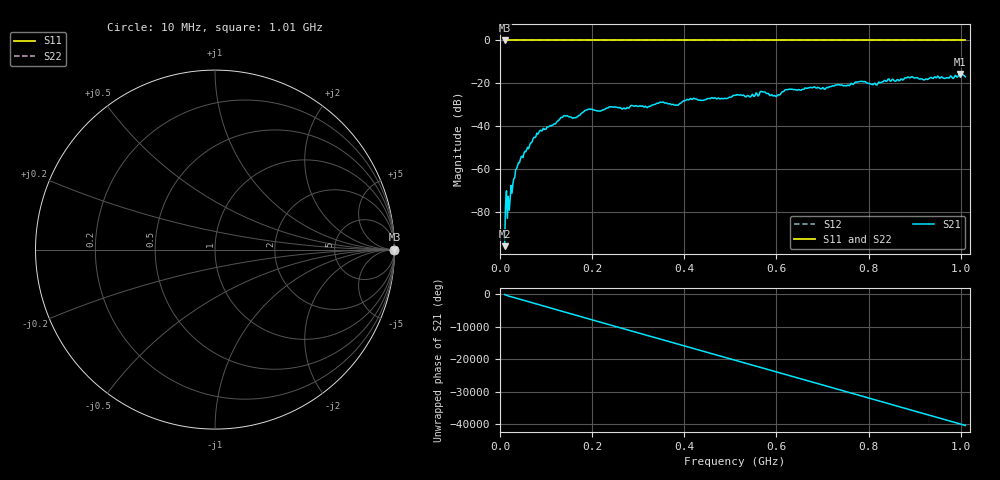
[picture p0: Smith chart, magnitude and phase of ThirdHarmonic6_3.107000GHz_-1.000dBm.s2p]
! 8/17/2025 9:11:04 AM
! C:\ANRITSUVNA\TEMP\TEMP.S2P
! CHANNEL.1
! TR.MEASUREMENT
! RAW.DATA
! RF.CORRECTION.OFF
! AVERAGING.OFF
! IF.BANDWIDTH: 5KHZ
! SWEEPTYPE:  FREQ.SWEEP(Linear)
! Reference Plane Port Info
! PORT:  PORT1  PORT2
! DISTANCE:  0  m  0  m
! TIME:  0  s  0  s
! PHASE.OFFSET:  0  deg.  0  deg.
! LOSS:  0  dB  0  dB
! REF.LOSS:  0  dB  0  dB
! REF.FREQ:  0  Hz  0  Hz
! Power Info
! POWER:  -20  dBm  -20  dBm
! EFF.POWER:  -20  dBm  -20  dBm
! SOURCE.ATTEN:  0  dB  0  dB
! TEST.ATTEN:  0  dB  0  dB
# GHZ S RI R 50.0
! FREQ.GHZ  S11RE  S11IM  S21RE  S21IM  S12RE  S12IM  S22RE  S22IM
!; PortSelection: Port_12
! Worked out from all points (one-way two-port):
!   501 points, 10 MHz to 1.01 GHz, reference 50 ohm
!   highest |S21| = -15.60 dB at 998 MHz (marker M1); lowest = -96.0 dB at 10 MHz (marker M2)
!   lowest |S11| = 0.0 dB at 10 MHz (marker M3)
!   |S11| at or under -10 dB: nowhere
!   |S22| runs from 0.0 to 0.0 dB; largest |S21 - S12| = 1.1
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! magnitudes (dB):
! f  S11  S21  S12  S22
! 10 MHz  0.0  -96.0  0.0  0.0
! 20 MHz  0.0  -79.2  0.0  0.0
! 34 MHz  0.0  -60.3  0.0  0.0
! 42 MHz  0.0  -57.1  0.0  0.0
! 76 MHz  0.0  -45.3  0.0  0.0
! 136 MHz  0.0  -35.8  0.0  0.0
! 162 MHz  0.0  -36.1  0.0  0.0
! 178 MHz  0.0  -33.8  0.0  0.0
! 194 MHz  0.0  -31.9  0.0  0.0
! 322 MHz  0.0  -30.9  0.0  0.0
! 344 MHz  0.0  -29.3  0.0  0.0
! 384 MHz  0.0  -30.2  0.0  0.0
! 416 MHz  0.0  -27.5  0.0  0.0
! 510 MHz  0.0  -25.6  0.0  0.0
! 540 MHz  0.0  -26.0  0.0  0.0
! 570 MHz  0.0  -24.0  0.0  0.0
! 596 MHz  0.0  -25.7  0.0  0.0
! 622 MHz  0.0  -22.9  0.0  0.0
! 678 MHz  0.0  -22.1  0.0  0.0
! 844 MHz  0.0  -17.9  0.0  0.0
! 998 MHz  0.0  -15.6  0.0  0.0
! 1.01 GHz  0.0  -17.0  0.0  0.0
